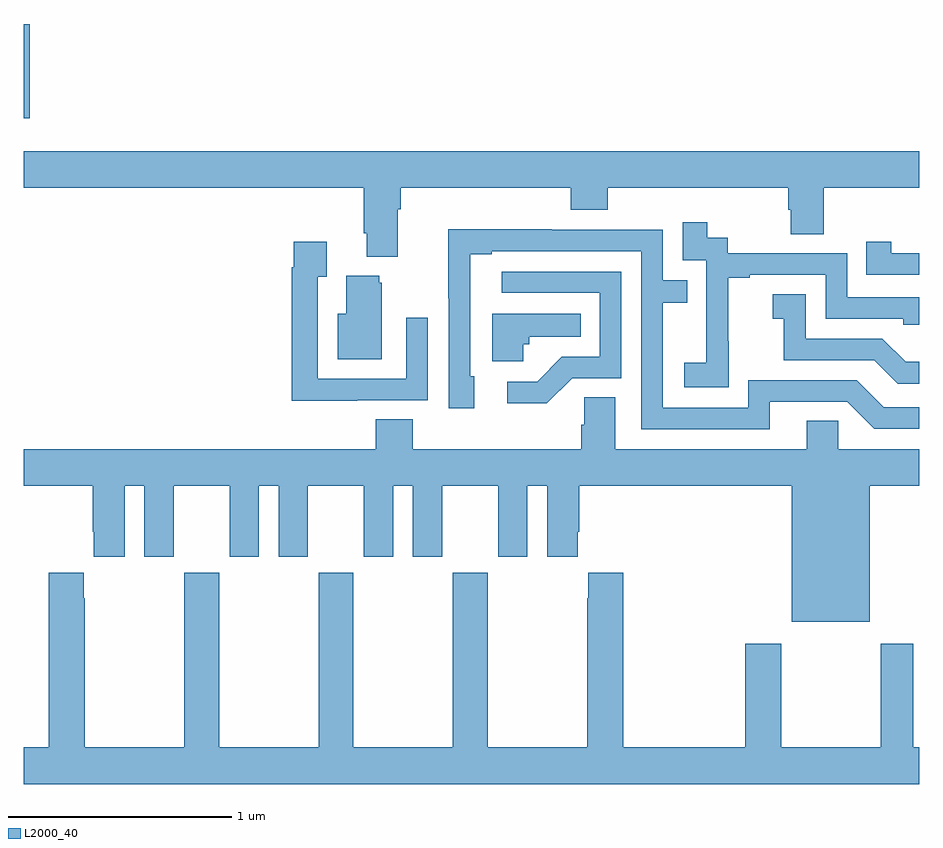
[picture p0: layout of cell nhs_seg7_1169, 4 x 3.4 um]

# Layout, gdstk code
import gdstk
lib = gdstk.Library(unit=1e-6, precision=1e-09)
def R(c, l, rs):  # rectangles x0, y0, x1, y1
    for r in rs: c.add(gdstk.rectangle(r[:2], r[2:], *l))
def P(c, l, *ps):  # polygons
    for p in ps: c.add(gdstk.Polygon(p, *l))
L2000_40 = (2000, 40)

nhs_seg7_1169 = lib.new_cell('nhs_seg7_1169')
R(nhs_seg7_1169, L2000_40, [(193,1015.578,193.025,1016)])
P(nhs_seg7_1169, L2000_40, [(194.671,1015.172),(194.684,1015.172),(194.684,1015.268),(195.443,1015.268),(195.443,1015.169),(195.608,1015.169),(195.608,1015.268),(196.415,1015.268),(196.415,1015.17),(196.427,1015.17),(196.427,1015.06),(196.575,1015.06),(196.575,1015.268),(197,1015.268),(197,1015.432),(193,1015.432),(193,1015.268),(194.519,1015.268),(194.519,1015.066),(194.531,1015.066),(194.531,1014.959),(194.671,1014.959)],
  [(196.149,1014.583),(196.148,1014.583),(196.148,1014.867),(196.243,1014.867),(196.243,1014.879),(196.584,1014.879),(196.584,1014.684),(196.929,1014.684),(196.929,1014.657),(197,1014.657),(197,1014.78),(196.68,1014.78),(196.68,1014.975),(196.146,1014.975),(196.146,1015.044),(196.054,1015.044),(196.054,1015.114),(195.945,1015.114),(195.945,1014.945),(196.05,1014.945),(196.05,1014.716),(196.049,1014.716),(196.049,1014.487),(195.951,1014.487),(195.951,1014.377),(196.149,1014.377)],
  [(196.333,1014.312),(196.68,1014.312),(196.8,1014.192),(197,1014.192),(197,1014.288),(196.842,1014.288),(196.722,1014.408),(196.236,1014.408),(196.236,1014.285),(195.855,1014.285),(195.855,1014.754),(195.965,1014.754),(195.965,1014.855),(195.855,1014.855),(195.855,1015.08),(195.359,1015.08),(195.359,1015.082),(194.896,1015.082),(194.896,1014.775),(194.898,1014.775),(194.898,1014.282),(195.013,1014.282),(195.013,1014.426),(194.994,1014.426),(194.994,1014.972),(195.091,1014.972),(195.091,1014.984),(195.759,1014.984),(195.759,1014.189),(196.333,1014.189)],
  [(197,1014.975),(196.876,1014.975),(196.876,1015.027),(196.765,1015.027),(196.765,1014.879),(197,1014.879)],
  [(194.489,1014.318),(194.805,1014.318),(194.805,1014.688),(194.709,1014.688),(194.709,1014.414),(194.313,1014.414),(194.313,1014.871),(194.353,1014.871),(194.353,1015.027),(194.205,1015.027),(194.205,1014.914),(194.197,1014.914),(194.197,1014.317),(194.489,1014.317)],
  [(195.45,1014.417),(195.669,1014.417),(195.669,1014.894),(195.135,1014.894),(195.135,1014.798),(195.573,1014.798),(195.573,1014.513),(195.404,1014.513),(195.293,1014.402),(195.159,1014.402),(195.159,1014.305),(195.337,1014.305)],
  [(194.599,1014.843),(194.588,1014.843),(194.588,1014.874),(194.441,1014.874),(194.441,1014.706),(194.402,1014.706),(194.402,1014.503),(194.599,1014.503)],
  [(197,1014.49),(196.94,1014.49),(196.836,1014.594),(196.494,1014.594),(196.494,1014.793),(196.347,1014.793),(196.347,1014.683),(196.396,1014.683),(196.396,1014.498),(196.799,1014.498),(196.904,1014.393),(197,1014.393)],
  [(195.231,1014.57),(195.258,1014.57),(195.258,1014.602),(195.488,1014.602),(195.488,1014.706),(195.092,1014.706),(195.092,1014.494),(195.231,1014.494)],
  [(193,1013.936),(193.307,1013.936),(193.307,1013.731),(193.313,1013.731),(193.313,1013.619),(193.45,1013.619),(193.45,1013.936),(193.538,1013.936),(193.538,1013.619),(193.669,1013.619),(193.669,1013.936),(193.919,1013.936),(193.919,1013.619),(194.05,1013.619),(194.05,1013.936),(194.138,1013.936),(194.138,1013.619),(194.269,1013.619),(194.269,1013.936),(194.519,1013.936),(194.519,1013.619),(194.65,1013.619),(194.65,1013.936),(194.738,1013.936),(194.738,1013.619),(194.869,1013.619),(194.869,1013.936),(195.119,1013.936),(195.119,1013.619),(195.25,1013.619),(195.25,1013.936),(195.338,1013.936),(195.338,1013.619),(195.475,1013.619),(195.475,1013.731),(195.482,1013.731),(195.482,1013.936),(196.43,1013.936),(196.43,1013.33),(196.78,1013.33),(196.78,1013.936),(197,1013.936),(197,1014.1),(196.638,1014.1),(196.638,1014.227),(196.499,1014.227),(196.499,1014.1),(195.643,1014.1),(195.643,1014.332),(195.504,1014.332),(195.504,1014.209),(195.491,1014.209),(195.491,1014.1),(194.738,1014.1),(194.738,1014.233),(194.573,1014.233),(194.573,1014.1),(193,1014.1)],
  [(197,1012.768),(196.975,1012.768),(196.975,1013.23),(196.828,1013.23),(196.828,1012.768),(196.383,1012.768),(196.383,1013.23),(196.223,1013.23),(196.223,1012.768),(195.677,1012.768),(195.677,1013.548),(195.521,1013.548),(195.521,1013.435),(195.517,1013.435),(195.517,1012.768),(195.072,1012.768),(195.072,1013.548),(194.917,1013.548),(194.917,1012.768),(194.472,1012.768),(194.472,1013.548),(194.317,1013.548),(194.317,1012.768),(193.872,1012.768),(193.872,1013.548),(193.717,1013.548),(193.717,1012.768),(193.272,1012.768),(193.272,1013.435),(193.267,1013.435),(193.267,1013.548),(193.112,1013.548),(193.112,1012.768),(193,1012.768),(193,1012.604),(197,1012.604)])

lib.write_gds('nhs_seg7_1169.gds')
